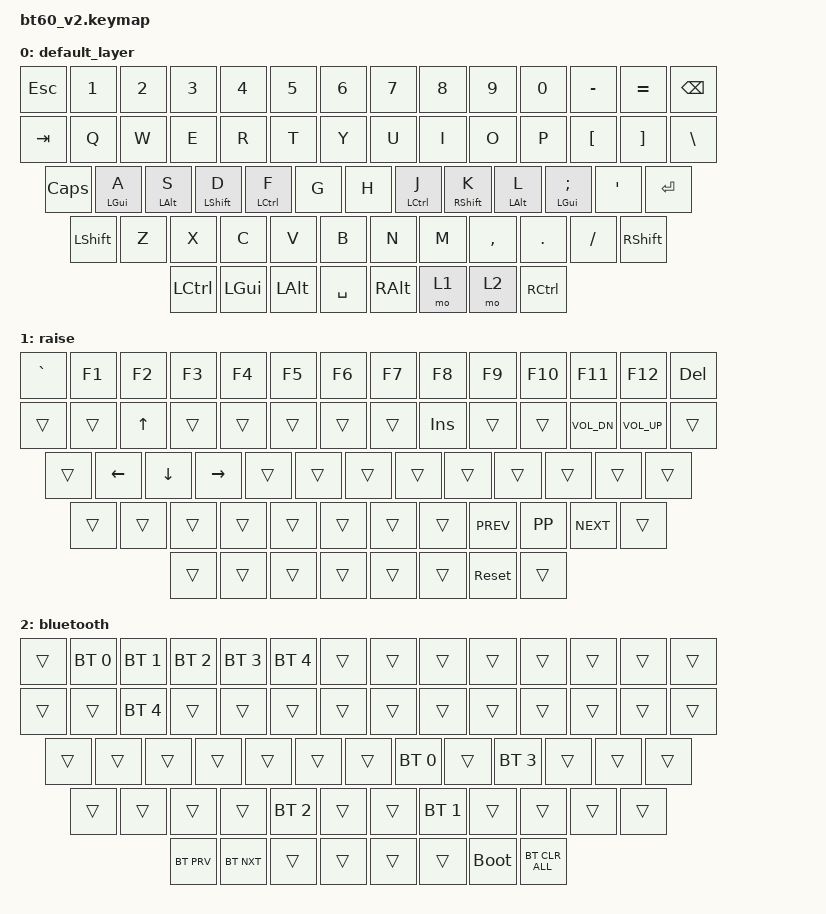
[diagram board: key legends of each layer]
#include <behaviors.dtsi>
#include <dt-bindings/zmk/keys.h>
#include <dt-bindings/zmk/bt.h>
#include <dt-bindings/zmk/rgb.h>
#include <dt-bindings/zmk/backlight.h>

// Include zmk-helpers (we'll need to define ZMK_HOLD_TAP manually since we don't have zmk-helpers)
#define ZMK_HOLD_TAP(name, ...) \
    name: name { \
        compatible = "zmk,behavior-hold-tap"; \
        #binding-cells = <2>; \
        __VA_ARGS__ \
    };

// Key position definitions for BT60 v2 (60% layout)
// Numbers correspond to the key matrix positions (0-63 for 60% boards)
#define KEYS_L  0  1  2  3  4  5  6 \
               14 15 16 17 18 19 20 \
               28 29 30 31 32 33 34

#define KEYS_R  7  8  9 10 11 12 13 \
               21 22 23 24 25 26 27 \
               35 36 37 38 39 40 41

#define THUMBS 42 43 44 45 46 47 48 49 50 51 52 53 54 55 56 57 58 59 60 61 62 63

// Timing definitions
#define QUICK_TAP_MS 175

// Homerow mod macro definition (adapted from urob's timeless homerow mods)
#define MAKE_HRM(NAME, HOLD, TAP, TRIGGER_POS) \
    ZMK_HOLD_TAP(NAME, \
        bindings = <HOLD>, <TAP>; \
        flavor = "balanced"; \
        tapping-term-ms = <280>; \
        quick-tap-ms = <QUICK_TAP_MS>; \
        require-prior-idle-ms = <150>; \
        hold-trigger-on-release; \
        hold-trigger-key-positions = <TRIGGER_POS>;)


/ {
  behaviors {
    // Left-hand homerow mods
    MAKE_HRM(hml, &kp, &kp, KEYS_R THUMBS)
    
    // Right-hand homerow mods  
    MAKE_HRM(hmr, &kp, &kp, KEYS_L THUMBS)
  };
  
  chosen {
    zmk,physical-layout = &layout_60_ansi;
  };

  keymap {
    compatible = "zmk,keymap";
    
    default_layer {
        // ------------------------------------------------------------------------------------------
        // | ESC |  1  |  2  |  3  |  4  |  5  |  6  |  7  |  8  |  9  |  0  |  -  |  =  |   BSPC   |
        // | TAB  |  Q  |  W  |  E  |  R  |  T  |  Y  |  U  |  I  |  O  |  P  |  [  |  ]  |   \     |
        // | CAPS  |GUI/A|ALT/S|SFT/D|CTL/F|  G  |  H  |CTL/J|SFT/K|ALT/L|GUI/;|  '  |     ENTER    |
        // |  SHIFT    |  Z  |  X  |  C  |  V  |  B  |  N  |  M  |  ,  |  .  | /   |      SHIFT     |
        // |  CTL  |  WIN  |  ALT  |            SPACE               | ALT |   1  |  MENU   |  CTRL  |
        // ------------------------------------------------------------------------------------------
      bindings = <

        &kp ESC &kp N1 &kp N2 &kp N3 &kp N4 &kp N5 &kp N6 &kp N7 &kp  N8   &kp  N9 &kp  N0  &kp MINUS &kp EQUAL &kp BSPC
        &kp TAB  &kp Q  &kp W  &kp E  &kp R  &kp T  &kp Y  &kp U  &kp  I    &kp  O  &kp  P   &kp LBKT &kp RBKT   &kp BSLH
        &kp CAPS  &hml LGUI A  &hml LALT S  &hml LSHFT D  &hml LCTRL F  &kp G  &kp H  &hmr LCTRL J  &hmr RSHFT K    &hmr LALT L  &hmr LGUI SEMI &kp SQT            &kp RET
        &kp LSHFT  &kp Z  &kp X  &kp C  &kp V  &kp B  &kp N  &kp M  &kp COMMA &kp DOT &kp FSLH                &kp RSHFT
        &kp LCTRL &kp LGUI &kp LALT            &kp SPACE                          &kp RALT  &mo 1 &mo 2    &kp RCTRL
      >;
    };
    raise {
        // ------------------------------------------------------------------------------------------
        // |GRAVE| F1  | F2  | F3  | F4  | F5  | F6  | F7  | F8  | F9  | F10 | F11 | F12 |    DEL   |
        // | TAB  |  Q  | UP  |  E  | R | T |  Y  |  U  | INS |  O  | P | VOLDN | VOLUP |   BSLH   |
        // | CAPS  | LEFT| DOWN|RIGHT| F | G |  H  |  J  |  K  |  L  | ; | ' |     ENTER     |
        // |  SHIFT   | Z | X |  C | V | B |  N  |  M  |  K_PREV  | K_PP | K_NEXT |      SHIFT    |
        // | CTL | WIN|  ALT  |            SPACE               | ALT |   1  |  RESET  | BT_CLR |
        // ------------------------------------------------------------------------------------------
      bindings = <
        &kp GRAVE &kp F1 &kp F2 &kp F3 &kp F4 &kp F5 &kp F6 &kp F7 &kp F8 &kp F9 &kp F10 &kp F11 &kp F12 &kp DEL
        &trans &trans &kp UP &trans &trans &trans &trans &trans &kp INS &trans &trans &kp C_VOL_DN &kp C_VOL_UP &trans
        &trans    &kp LEFT &kp DOWN &kp RIGHT &trans &trans &trans &trans &trans &trans &trans &trans   &trans
        &trans   &trans &trans &trans &trans &trans &trans &trans &kp K_PREV &kp K_PP &kp K_NEXT &trans
        &trans &trans  &trans              &trans                            &trans   &trans   &sys_reset &trans
      >;
    };
    
    bluetooth {
        // ------------------------------------------------------------------------------------------
        // |     | BT1 | BT2 | BT3 | BT4 | BT5 |     |     |     |     |     |     |     |          |
        // |      |     | BT5 |     |     |     |     |     |     |     |     |     |     |          |
        // |       |     |     |     |     |     |     | BT1 |     | BT4 |     |     |              |
        // |        |     |     |     | BT3 |     |     | BT2 |     |     |     |              |
        // |BT_PRV |BT_NXT |       |                                   |     |     |       |BT_CLR|
        // ------------------------------------------------------------------------------------------
      bindings = <
        &trans &bt BT_SEL 0 &bt BT_SEL 1 &bt BT_SEL 2 &bt BT_SEL 3 &bt BT_SEL 4 &trans &trans &trans &trans &trans &trans &trans &trans
        &trans &trans &bt BT_SEL 4 &trans &trans &trans &trans &trans &trans &trans &trans &trans &trans &trans
        &trans &trans &trans &trans &trans &trans &trans &bt BT_SEL 0 &trans &bt BT_SEL 3 &trans &trans &trans
        &trans &trans &trans &trans &bt BT_SEL 2 &trans &trans &bt BT_SEL 1 &trans &trans &trans &trans
        &bt BT_PRV &bt BT_NXT &trans &trans &trans &trans &bootloader &bt BT_CLR_ALL
      >;
    };
    
  };
};
